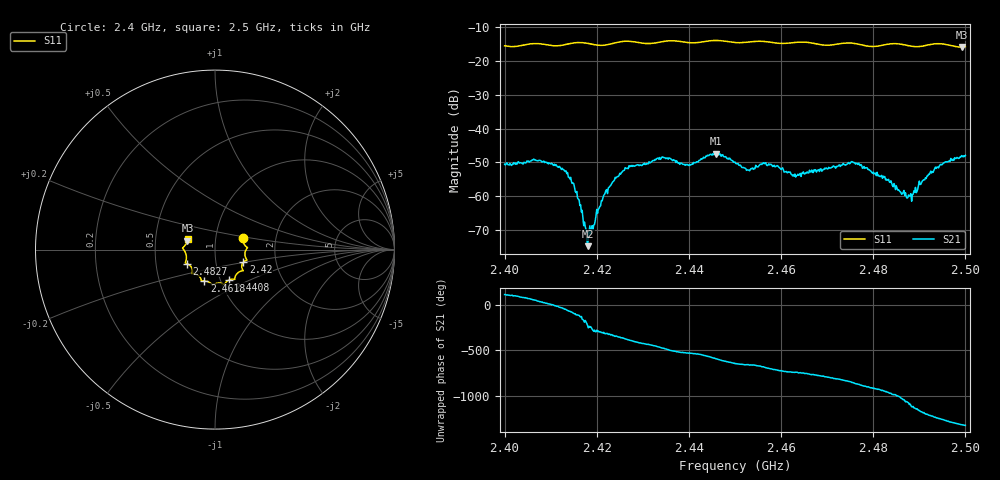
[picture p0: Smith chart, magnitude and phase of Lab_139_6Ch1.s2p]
# Hz S RI R 50
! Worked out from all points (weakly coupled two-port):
!   601 points, 2.4 GHz to 2.5 GHz, reference 50 ohm
!   highest |S21| = -47.43 dB at 2.4458 GHz (marker M1); lowest = -74.8 dB at 2.418 GHz (marker M2)
!   lowest |S11| = -15.8 dB at 2.4992 GHz (marker M3), VSWR 1.38, Z = 36.5 + j3.71 ohm
!   |S11| at or under -10 dB: start of sweep to end of sweep
!   S12 and S22 are empty: the file has one direction only
!   S11 on the Smith chart (normalised r, x): 2.4 GHz: 1.36, +0.17; 2.42 GHz: 1.36, -0.19; 2.4408 GHz: 1.10, -0.38; 2.4618 GHz: 0.84, -0.30; 2.4827 GHz: 0.72, -0.12; 2.5 GHz: 0.73, +0.09
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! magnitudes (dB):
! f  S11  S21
! 2.4 GHz  -15.5  -50.5
! 2.4065 GHz  -14.8  -49.3
! 2.4123 GHz  -15.3  -52.1
! 2.4147 GHz  -14.7  -56.2
! 2.4167 GHz  -14.5  -64.7
! 2.418 GHz  -14.8  -74.8
! 2.42 GHz  -15.3  -63.9
! 2.4217 GHz  -15.3  -59.5
! 2.4258 GHz  -14.2  -52.4
! 2.4333 GHz  -14.5  -48.7
! 2.4408 GHz  -14.6  -50.6
! 2.4458 GHz  -13.9  -47.4
! 2.45 GHz  -14.5  -49.9
! 2.4618 GHz  -14.7  -53.0
! 2.4667 GHz  -14.7  -52.3
! 2.4755 GHz  -14.7  -49.8
! 2.4827 GHz  -15.1  -55.2
! 2.4833 GHz  -15.0  -55.0
! 2.4878 GHz  -15.5  -60.0
! 2.4938 GHz  -14.9  -51.4
! 2.4992 GHz  -15.8  -48.0
! 2.5 GHz  -15.7  -47.9
